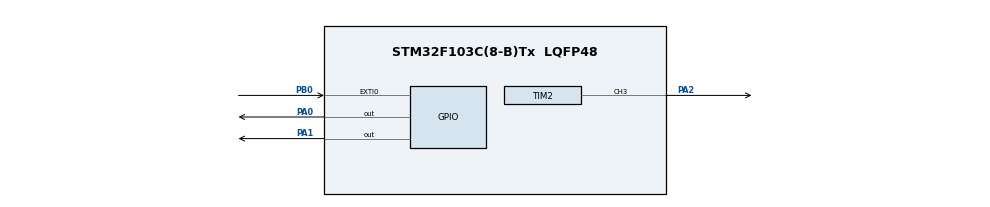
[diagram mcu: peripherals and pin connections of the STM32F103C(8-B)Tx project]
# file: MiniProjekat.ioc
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Mcu.Family=STM32F1
Mcu.Name=STM32F103C(8-B)Tx
Mcu.Package=LQFP48
NVIC.EXTI0_IRQn=true\:0\:0\:false\:false\:true\:true\:true\:true
NVIC.PriorityGroup=NVIC_PRIORITYGROUP_4
NVIC.TIM1_UP_IRQn=true\:0\:0\:false\:false\:true\:true\:true\:true
NVIC.TIM2_IRQn=true\:0\:0\:false\:false\:true\:true\:true\:true
PA0-WKUP.Signal=GPIO_Output
PA1.Signal=GPIO_Output
PA2.Signal=S_TIM2_CH3
PB0.GPIO_ModeDefaultEXTI=GPIO_MODE_IT_RISING_FALLING
PB0.GPIO_PuPd=GPIO_PULLDOWN
PB0.Signal=GPXTI0
ProjectManager.HeapSize=0x200
ProjectManager.StackSize=0x400
ProjectManager.TargetToolchain=STM32CubeIDE
RCC.APB1Freq_Value=8000000
RCC.APB2Freq_Value=8000000
SH.S_TIM2_CH3.0=TIM2_CH3,PWM Generation3 CH3
TIM1.AutoReloadPreload=TIM_AUTORELOAD_PRELOAD_DISABLE
TIM1.Period=2000-1
TIM1.Prescaler=8000-1
TIM2.AutoReloadPreload=TIM_AUTORELOAD_PRELOAD_ENABLE
TIM2.Channel-PWM\ Generation3\ CH3=TIM_CHANNEL_3
TIM2.Period=1000
TIM2.Prescaler=8-1
VP_TIM1_VS_ClockSourceINT.Mode=Internal
VP_TIM2_VS_ClockSourceINT.Mode=Internal
board=custom

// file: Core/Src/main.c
/* USER CODE BEGIN Header */
/**
  ******************************************************************************
  * @file           : main.c
  * @brief          : Main program body
  ******************************************************************************
  * @attention
  *
  * Copyright (c) 2023 STMicroelectronics.
  * All rights reserved.
  *
  * This software is licensed under terms that can be found in the LICENSE file
  * in the root directory of this software component.
  * If no LICENSE file comes with this software, it is provided AS-IS.
  *
  ******************************************************************************
  */
/* USER CODE END Header */
#include "main.h"

TIM_HandleTypeDef htim1;
TIM_HandleTypeDef htim2;

void SystemClock_Config(void);
static void MX_GPIO_Init(void);
static void MX_TIM1_Init(void);
static void MX_TIM2_Init(void);
/* USER CODE BEGIN PFP */
void HAL_TIM_PeriodElapsedCallback(TIM_HandleTypeDef *htim);
void HAL_GPIO_EXTI_Callback(uint16_t GPIO_Pin);
/* USER CODE END PFP */

/* USER CODE BEGIN 0 */
uint8_t taster, bilo_pritisnuto=0;
/* USER CODE END 0 */

int main(void)
{

  /* MCU Configuration--------------------------------------------------------*/

  /* Reset of all peripherals, Initializes the Flash interface and the Systick. */
  HAL_Init();

  /* Configure the system clock */
  SystemClock_Config();

  /* Initialize all configured peripherals */
  MX_GPIO_Init();
  MX_TIM1_Init();
  MX_TIM2_Init();
  /* USER CODE BEGIN 2 */
  HAL_GPIO_WritePin(GPIOA, GPIO_PIN_0, 1);
  HAL_GPIO_WritePin(GPIOA, GPIO_PIN_1, 1);
  HAL_GPIO_WritePin(GPIOA, GPIO_PIN_2, 1);

  __HAL_TIM_CLEAR_IT(&htim1, TIM_IT_UPDATE);

  HAL_TIM_Base_Start_IT(&htim2);
   HAL_TIM_OC_Start(&htim2, TIM_CHANNEL_3);
  /* USER CODE END 2 */

  /* Infinite loop */
  /* USER CODE BEGIN WHILE */
  while (1)
  {
	  HAL_GPIO_TogglePin(GPIOA, GPIO_PIN_0);
	  HAL_Delay(500);

    /* USER CODE END WHILE */

  }
}

void SystemClock_Config(void)
{
  RCC_OscInitTypeDef RCC_OscInitStruct = {0};
  RCC_ClkInitTypeDef RCC_ClkInitStruct = {0};

  /** Initializes the RCC Oscillators according to the specified parameters
  * in the RCC_OscInitTypeDef structure.
  */
  RCC_OscInitStruct.OscillatorType = RCC_OSCILLATORTYPE_HSI;
  RCC_OscInitStruct.HSIState = RCC_HSI_ON;
  RCC_OscInitStruct.HSICalibrationValue = RCC_HSICALIBRATION_DEFAULT;
  RCC_OscInitStruct.PLL.PLLState = RCC_PLL_NONE;
  if (HAL_RCC_OscConfig(&RCC_OscInitStruct) != HAL_OK)
  {
    Error_Handler();
  }

  /** Initializes the CPU, AHB and APB buses clocks
  */
  RCC_ClkInitStruct.ClockType = RCC_CLOCKTYPE_HCLK|RCC_CLOCKTYPE_SYSCLK
                              |RCC_CLOCKTYPE_PCLK1|RCC_CLOCKTYPE_PCLK2;
  RCC_ClkInitStruct.SYSCLKSource = RCC_SYSCLKSOURCE_HSI;
  RCC_ClkInitStruct.AHBCLKDivider = RCC_SYSCLK_DIV1;
  RCC_ClkInitStruct.APB1CLKDivider = RCC_HCLK_DIV1;
  RCC_ClkInitStruct.APB2CLKDivider = RCC_HCLK_DIV1;

  if (HAL_RCC_ClockConfig(&RCC_ClkInitStruct, FLASH_LATENCY_0) != HAL_OK)
  {
    Error_Handler();
  }
}

static void MX_TIM1_Init(void)
{

  TIM_ClockConfigTypeDef sClockSourceConfig = {0};
  TIM_MasterConfigTypeDef sMasterConfig = {0};

  htim1.Instance = TIM1;
  htim1.Init.Prescaler = 8000-1;
  htim1.Init.CounterMode = TIM_COUNTERMODE_UP;
  htim1.Init.Period = 2000-1;
  htim1.Init.ClockDivision = TIM_CLOCKDIVISION_DIV1;
  htim1.Init.RepetitionCounter = 0;
  htim1.Init.AutoReloadPreload = TIM_AUTORELOAD_PRELOAD_DISABLE;
  if (HAL_TIM_Base_Init(&htim1) != HAL_OK)
  {
    Error_Handler();
  }
  sClockSourceConfig.ClockSource = TIM_CLOCKSOURCE_INTERNAL;
  if (HAL_TIM_ConfigClockSource(&htim1, &sClockSourceConfig) != HAL_OK)
  {
    Error_Handler();
  }
  sMasterConfig.MasterOutputTrigger = TIM_TRGO_RESET;
  sMasterConfig.MasterSlaveMode = TIM_MASTERSLAVEMODE_DISABLE;
  if (HAL_TIMEx_MasterConfigSynchronization(&htim1, &sMasterConfig) != HAL_OK)
  {
    Error_Handler();
  }

}

static void MX_TIM2_Init(void)
{

  TIM_ClockConfigTypeDef sClockSourceConfig = {0};
  TIM_MasterConfigTypeDef sMasterConfig = {0};
  TIM_OC_InitTypeDef sConfigOC = {0};

  htim2.Instance = TIM2;
  htim2.Init.Prescaler = 8-1;
  htim2.Init.CounterMode = TIM_COUNTERMODE_UP;
  htim2.Init.Period = 1000;
  htim2.Init.ClockDivision = TIM_CLOCKDIVISION_DIV1;
  htim2.Init.AutoReloadPreload = TIM_AUTORELOAD_PRELOAD_ENABLE;
  if (HAL_TIM_Base_Init(&htim2) != HAL_OK)
  {
    Error_Handler();
  }
  sClockSourceConfig.ClockSource = TIM_CLOCKSOURCE_INTERNAL;
  if (HAL_TIM_ConfigClockSource(&htim2, &sClockSourceConfig) != HAL_OK)
  {
    Error_Handler();
  }
  if (HAL_TIM_PWM_Init(&htim2) != HAL_OK)
  {
    Error_Handler();
  }
  sMasterConfig.MasterOutputTrigger = TIM_TRGO_RESET;
  sMasterConfig.MasterSlaveMode = TIM_MASTERSLAVEMODE_DISABLE;
  if (HAL_TIMEx_MasterConfigSynchronization(&htim2, &sMasterConfig) != HAL_OK)
  {
    Error_Handler();
  }
  sConfigOC.OCMode = TIM_OCMODE_PWM1;
  sConfigOC.Pulse = 0;
  sConfigOC.OCPolarity = TIM_OCPOLARITY_HIGH;
  sConfigOC.OCFastMode = TIM_OCFAST_DISABLE;
  if (HAL_TIM_PWM_ConfigChannel(&htim2, &sConfigOC, TIM_CHANNEL_3) != HAL_OK)
  {
    Error_Handler();
  }
  HAL_TIM_MspPostInit(&htim2);

}

static void MX_GPIO_Init(void)
{
  GPIO_InitTypeDef GPIO_InitStruct = {0};

  /* GPIO Ports Clock Enable */
  __HAL_RCC_GPIOA_CLK_ENABLE();
  __HAL_RCC_GPIOB_CLK_ENABLE();

  /*Configure GPIO pin Output Level */
  HAL_GPIO_WritePin(GPIOA, GPIO_PIN_0|GPIO_PIN_1, GPIO_PIN_RESET);

  /*Configure GPIO pins : PA0 PA1 */
  GPIO_InitStruct.Pin = GPIO_PIN_0|GPIO_PIN_1;
  GPIO_InitStruct.Mode = GPIO_MODE_OUTPUT_PP;
  GPIO_InitStruct.Pull = GPIO_NOPULL;
  GPIO_InitStruct.Speed = GPIO_SPEED_FREQ_LOW;
  HAL_GPIO_Init(GPIOA, &GPIO_InitStruct);

  /*Configure GPIO pin : PB0 */
  GPIO_InitStruct.Pin = GPIO_PIN_0;
  GPIO_InitStruct.Mode = GPIO_MODE_IT_RISING_FALLING;
  GPIO_InitStruct.Pull = GPIO_PULLDOWN;
  HAL_GPIO_Init(GPIOB, &GPIO_InitStruct);

  /* EXTI interrupt init*/
  HAL_NVIC_SetPriority(EXTI0_IRQn, 0, 0);
  HAL_NVIC_EnableIRQ(EXTI0_IRQn);

}

/* USER CODE BEGIN 4 */
const uint32_t MAX_COUNT = 20;
uint32_t INCREMENT = 20;
uint32_t count = 0;
int32_t value = 0;

void HAL_TIM_PeriodElapsedCallback(TIM_HandleTypeDef *htim){
	if(htim == &htim1)
	{
		HAL_GPIO_WritePin(GPIOA, GPIO_PIN_1, GPIO_PIN_RESET);
	}
	else if (htim == &htim2)
		{
			count++;
			if(count == MAX_COUNT)
			{
				count = 0;
				value += INCREMENT;
				if(value > 1000 || value < 0)
				{
					INCREMENT = - INCREMENT;
					value += 2 * INCREMENT;
				}
				htim2.Instance->CCR3 = value;
			}
		}
}

void HAL_GPIO_EXTI_Callback(uint16_t GPIO_Pin){
	if(HAL_GPIO_ReadPin(GPIOB, GPIO_PIN_0)){
		HAL_TIM_Base_Start_IT(&htim1);
	}
	else{
		HAL_GPIO_WritePin(GPIOA, GPIO_PIN_1, 1);
		HAL_TIM_Base_Stop_IT(&htim1);
		__HAL_TIM_SET_COUNTER(&htim1, 0);
	}
}
/* USER CODE END 4 */

void Error_Handler(void)
{
  __disable_irq();
  while (1)
  {
  }
}
